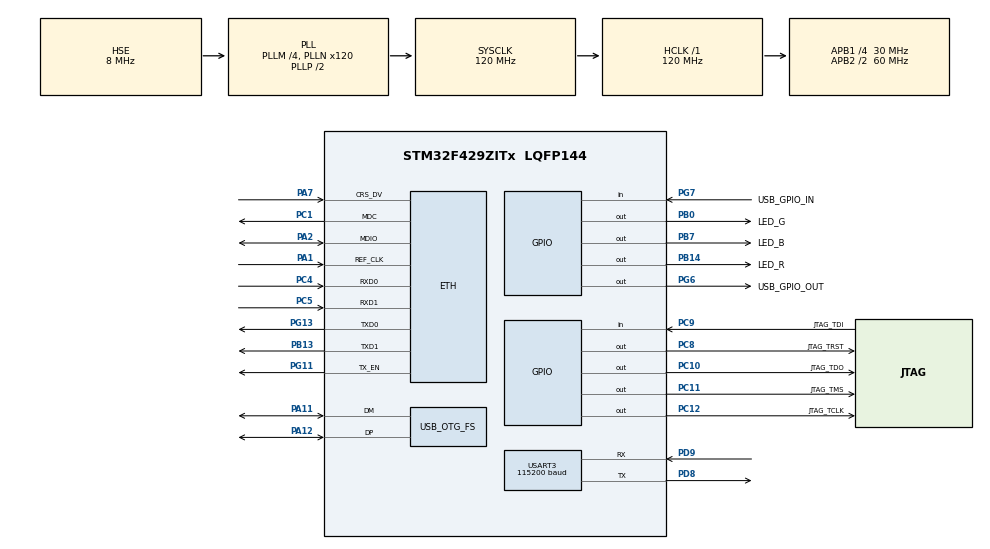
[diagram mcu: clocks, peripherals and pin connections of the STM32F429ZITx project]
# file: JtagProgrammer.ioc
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ETH.MediaInterface=ETH_MEDIA_INTERFACE_RMII
ETH.PhyAddress=0
FREERTOS.Tasks01=defaultTask,0,1024,StartDefaultTask,Default,NULL,Dynamic,NULL,NULL
FREERTOS.configMINIMAL_STACK_SIZE=128
FREERTOS.configTOTAL_HEAP_SIZE=102400
LWIP.LWIP_DNS=1
LWIP.Version=v2.0.3_Cube
Mcu.Family=STM32F4
Mcu.Name=STM32F429ZITx
Mcu.Package=LQFP144
NVIC.ETH_IRQn=true\:5\:0\:false\:false\:true\:true\:false
NVIC.OTG_FS_IRQn=true\:5\:0\:false\:false\:true\:true\:false
NVIC.PriorityGroup=NVIC_PRIORITYGROUP_4
NVIC.TIM6_DAC_IRQn=true\:0\:0\:false\:false\:true\:false\:false
NVIC.TimeBase=TIM6_DAC_IRQn
NVIC.TimeBaseIP=TIM6
PA1.Mode=RMII
PA1.Signal=ETH_REF_CLK
PA11.Mode=Host_Only
PA11.Signal=USB_OTG_FS_DM
PA12.Mode=Host_Only
PA12.Signal=USB_OTG_FS_DP
PA2.Mode=RMII
PA2.Signal=ETH_MDIO
PA7.Mode=RMII
PA7.Signal=ETH_CRS_DV
PB0.GPIO_Label=LED_G
PB0.Signal=GPIO_Output
PB13.Mode=RMII
PB13.Signal=ETH_TXD1
PB14.GPIO_Label=LED_R
PB14.Signal=GPIO_Output
PB7.GPIO_Label=LED_B
PB7.Signal=GPIO_Output
PC1.Mode=RMII
PC1.Signal=ETH_MDC
PC10.GPIO_Label=JTAG_TDO
PC10.GPIO_PuPd=GPIO_PULLUP
PC10.Signal=GPIO_Output
PC11.GPIO_Label=JTAG_TMS
PC11.GPIO_PuPd=GPIO_PULLUP
PC11.Signal=GPIO_Output
PC12.GPIO_Label=JTAG_TCLK
PC12.GPIO_PuPd=GPIO_PULLUP
PC12.Signal=GPIO_Output
PC4.Mode=RMII
PC4.Signal=ETH_RXD0
PC5.Mode=RMII
PC5.Signal=ETH_RXD1
PC8.GPIO_Label=JTAG_TRST
PC8.GPIO_PuPd=GPIO_PULLUP
PC8.Signal=GPIO_Output
PC9.GPIO_Label=JTAG_TDI
PC9.GPIO_PuPd=GPIO_PULLUP
PC9.Signal=GPIO_Input
PD8.Mode=Asynchronous
PD8.Signal=USART3_TX
PD9.Mode=Asynchronous
PD9.Signal=USART3_RX
PG11.Mode=RMII
PG11.Signal=ETH_TX_EN
PG13.Mode=RMII
PG13.Signal=ETH_TXD0
PG6.GPIO_Label=USB_GPIO_OUT
PG6.PinState=GPIO_PIN_RESET
PG6.Signal=GPIO_Output
PG7.GPIO_Label=USB_GPIO_IN
PG7.Signal=GPIO_Input
PH0/OSC_IN.Mode=HSE-External-Oscillator
PH0/OSC_IN.Signal=RCC_OSC_IN
PH1/OSC_OUT.Mode=HSE-External-Oscillator
PH1/OSC_OUT.Signal=RCC_OSC_OUT
ProjectManager.HeapSize=0x200
ProjectManager.StackSize=0x400
ProjectManager.TargetToolchain=Makefile
RCC.48MHZClocksFreq_Value=48000000
RCC.AHBFreq_Value=120000000
RCC.APB1CLKDivider=RCC_HCLK_DIV4
RCC.APB1Freq_Value=30000000
RCC.APB1TimFreq_Value=60000000
RCC.APB2CLKDivider=RCC_HCLK_DIV2
RCC.APB2Freq_Value=60000000
RCC.APB2TimFreq_Value=120000000
RCC.CortexFreq_Value=120000000
RCC.HCLKFreq_Value=120000000
RCC.HSE_VALUE=8000000
RCC.HSI_VALUE=16000000
RCC.LSE_VALUE=32768
RCC.PLLM=4
RCC.PLLN=120
RCC.PLLQ=5
RCC.SYSCLKFreq_VALUE=120000000
RCC.SYSCLKSource=RCC_SYSCLKSOURCE_PLLCLK
RCC.VCOOutputFreq_Value=240000000
USART3.BaudRate=115200
USART3.VirtualMode=VM_ASYNC
USART3.WordLength=WORDLENGTH_8B
USB_HOST.USBH_DEBUG_LEVEL-MSC_FS=3
USB_HOST.USBH_HandleTypeDef-MSC_FS=hUsbHostFS
USB_HOST.VirtualModeFS=Msc
USB_OTG_FS.VirtualMode=Host_Only
USB_OTG_FS.phy_itface=HCD_PHY_EMBEDDED
VP_FATFS_VS_USB.Mode=USB
VP_FREERTOS_VS_ENABLE.Mode=Enabled
VP_LWIP_VS_Enabled.Mode=Enabled
VP_SYS_VS_tim6.Mode=TIM6
VP_USB_HOST_VS_USB_HOST_MSC_FS.Mode=MSC_FS
board=custom

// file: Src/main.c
/**
  ******************************************************************************
  * @file           : main.c
  * @brief          : Main program body
  ******************************************************************************
  * This notice applies to any and all portions of this file
  * that are not between comment pairs USER CODE BEGIN and
  * USER CODE END. Other portions of this file, whether
  * inserted by the user or by software development tools
  * are owned by their respective copyright owners.
  *
  * Copyright (c) 2018 STMicroelectronics International N.V.
  * All rights reserved.
  *
  * Redistribution and use in source and binary forms, with or without
  * modification, are permitted, provided that the following conditions are met:
  *
  * 1. Redistribution of source code must retain the above copyright notice,
  *    this list of conditions and the following disclaimer.
  * 2. Redistributions in binary form must reproduce the above copyright notice,
  *    this list of conditions and the following disclaimer in the documentation
  *    and/or other materials provided with the distribution.
  * 3. Neither the name of STMicroelectronics nor the names of other
  *    contributors to this software may be used to endorse or promote products
  *    derived from this software without specific written permission.
  * 4. This software, including modifications and/or derivative works of this
  *    software, must execute solely and exclusively on microcontroller or
  *    microprocessor devices manufactured by or for STMicroelectronics.
  * 5. Redistribution and use of this software other than as permitted under
  *    this license is void and will automatically terminate your rights under
  *    this license.
  *
  * THIS SOFTWARE IS PROVIDED BY STMICROELECTRONICS AND CONTRIBUTORS "AS IS"
  * AND ANY EXPRESS, IMPLIED OR STATUTORY WARRANTIES, INCLUDING, BUT NOT
  * LIMITED TO, THE IMPLIED WARRANTIES OF MERCHANTABILITY, FITNESS FOR A
  * PARTICULAR PURPOSE AND NON-INFRINGEMENT OF THIRD PARTY INTELLECTUAL PROPERTY
  * RIGHTS ARE DISCLAIMED TO THE FULLEST EXTENT PERMITTED BY LAW. IN NO EVENT
  * SHALL STMICROELECTRONICS OR CONTRIBUTORS BE LIABLE FOR ANY DIRECT, INDIRECT,
  * INCIDENTAL, SPECIAL, EXEMPLARY, OR CONSEQUENTIAL DAMAGES (INCLUDING, BUT NOT
  * LIMITED TO, PROCUREMENT OF SUBSTITUTE GOODS OR SERVICES; LOSS OF USE, DATA,
  * OR PROFITS; OR BUSINESS INTERRUPTION) HOWEVER CAUSED AND ON ANY THEORY OF
  * LIABILITY, WHETHER IN CONTRACT, STRICT LIABILITY, OR TORT (INCLUDING
  * NEGLIGENCE OR OTHERWISE) ARISING IN ANY WAY OUT OF THE USE OF THIS SOFTWARE,
  * EVEN IF ADVISED OF THE POSSIBILITY OF SUCH DAMAGE.
  *
  ******************************************************************************
  */
#include "main.h"
#include "stm32f4xx_hal.h"
#include "cmsis_os.h"
#include "fatfs.h"
#include "lwip.h"
#include "usb_host.h"

/* USER CODE BEGIN Includes */
#include "debug_leds.h"
#include "wakaama.h"
#include "jtag/jtag_scan.h"
#include "binary_download.h"
#include "target.h"
/* USER CODE END Includes */

UART_HandleTypeDef huart3;

osThreadId defaultTaskHandle;

/* USER CODE BEGIN PV */
/* Private variables ---------------------------------------------------------*/

/* USER CODE END PV */

void SystemClock_Config(void);
static void MX_GPIO_Init(void);
static void MX_USART3_UART_Init(void);
void StartDefaultTask(void const * argument);

/* USER CODE BEGIN PFP */
/* Private function prototypes -----------------------------------------------*/

/* USER CODE END PFP */

int main(void)
{

  /* MCU Configuration----------------------------------------------------------*/

  /* Reset of all peripherals, Initializes the Flash interface and the Systick. */
  HAL_Init();

  /* Configure the system clock */
  SystemClock_Config();

  /* Initialize all configured peripherals */
  MX_GPIO_Init();
  MX_USART3_UART_Init();

  /* Create the thread(s) */
  /* definition and creation of defaultTask */
  osThreadDef(defaultTask, StartDefaultTask, osPriorityNormal, 0, 1024);
  defaultTaskHandle = osThreadCreate(osThread(defaultTask), NULL);

  /* Start scheduler */
  osKernelStart();

  /* We should never get here as control is now taken by the scheduler */

  /* Infinite loop */
  while (1)
  {

  }

}

void SystemClock_Config(void)
{

  RCC_OscInitTypeDef RCC_OscInitStruct;
  RCC_ClkInitTypeDef RCC_ClkInitStruct;

    /**Configure the main internal regulator output voltage
    */
  __HAL_RCC_PWR_CLK_ENABLE();

  __HAL_PWR_VOLTAGESCALING_CONFIG(PWR_REGULATOR_VOLTAGE_SCALE3);

    /**Initializes the CPU, AHB and APB busses clocks
    */
  RCC_OscInitStruct.OscillatorType = RCC_OSCILLATORTYPE_HSE;
  RCC_OscInitStruct.HSEState = RCC_HSE_ON;
  RCC_OscInitStruct.PLL.PLLState = RCC_PLL_ON;
  RCC_OscInitStruct.PLL.PLLSource = RCC_PLLSOURCE_HSE;
  RCC_OscInitStruct.PLL.PLLM = 4;
  RCC_OscInitStruct.PLL.PLLN = 120;
  RCC_OscInitStruct.PLL.PLLP = RCC_PLLP_DIV2;
  RCC_OscInitStruct.PLL.PLLQ = 5;
  if (HAL_RCC_OscConfig(&RCC_OscInitStruct) != HAL_OK)
  {
    _Error_Handler(__FILE__, __LINE__);
  }

    /**Initializes the CPU, AHB and APB busses clocks
    */
  RCC_ClkInitStruct.ClockType = RCC_CLOCKTYPE_HCLK|RCC_CLOCKTYPE_SYSCLK
                              |RCC_CLOCKTYPE_PCLK1|RCC_CLOCKTYPE_PCLK2;
  RCC_ClkInitStruct.SYSCLKSource = RCC_SYSCLKSOURCE_PLLCLK;
  RCC_ClkInitStruct.AHBCLKDivider = RCC_SYSCLK_DIV1;
  RCC_ClkInitStruct.APB1CLKDivider = RCC_HCLK_DIV4;
  RCC_ClkInitStruct.APB2CLKDivider = RCC_HCLK_DIV2;

  if (HAL_RCC_ClockConfig(&RCC_ClkInitStruct, FLASH_LATENCY_3) != HAL_OK)
  {
    _Error_Handler(__FILE__, __LINE__);
  }

    /**Configure the Systick interrupt time
    */
  HAL_SYSTICK_Config(HAL_RCC_GetHCLKFreq()/1000);

    /**Configure the Systick
    */
  HAL_SYSTICK_CLKSourceConfig(SYSTICK_CLKSOURCE_HCLK);

  /* SysTick_IRQn interrupt configuration */
  HAL_NVIC_SetPriority(SysTick_IRQn, 15, 0);
}

/* USART3 init function */
static void MX_USART3_UART_Init(void)
{

  huart3.Instance = USART3;
  huart3.Init.BaudRate = 115200;
  huart3.Init.WordLength = UART_WORDLENGTH_8B;
  huart3.Init.StopBits = UART_STOPBITS_1;
  huart3.Init.Parity = UART_PARITY_NONE;
  huart3.Init.Mode = UART_MODE_TX_RX;
  huart3.Init.HwFlowCtl = UART_HWCONTROL_NONE;
  huart3.Init.OverSampling = UART_OVERSAMPLING_16;
  if (HAL_UART_Init(&huart3) != HAL_OK)
  {
    _Error_Handler(__FILE__, __LINE__);
  }

}

/** Configure pins as
        * Analog
        * Input
        * Output
        * EVENT_OUT
        * EXTI
*/
static void MX_GPIO_Init(void)
{

  GPIO_InitTypeDef GPIO_InitStruct;

  /* GPIO Ports Clock Enable */
  __HAL_RCC_GPIOH_CLK_ENABLE();
  __HAL_RCC_GPIOC_CLK_ENABLE();
  __HAL_RCC_GPIOA_CLK_ENABLE();
  __HAL_RCC_GPIOB_CLK_ENABLE();
  __HAL_RCC_GPIOD_CLK_ENABLE();
  __HAL_RCC_GPIOG_CLK_ENABLE();

  /*Configure GPIO pin Output Level */
  HAL_GPIO_WritePin(GPIOB, LED_G_Pin|LED_R_Pin|LED_B_Pin, GPIO_PIN_RESET);

  /*Configure GPIO pin Output Level */
  HAL_GPIO_WritePin(USB_GPIO_OUT_GPIO_Port, USB_GPIO_OUT_Pin, GPIO_PIN_RESET);

  /*Configure GPIO pin Output Level */
  HAL_GPIO_WritePin(GPIOC, JTAG_TRST_Pin|JTAG_TDO_Pin|JTAG_TMS_Pin|JTAG_TCLK_Pin, GPIO_PIN_RESET);

  /*Configure GPIO pins : LED_G_Pin LED_R_Pin LED_B_Pin */
  GPIO_InitStruct.Pin = LED_G_Pin|LED_R_Pin|LED_B_Pin;
  GPIO_InitStruct.Mode = GPIO_MODE_OUTPUT_PP;
  GPIO_InitStruct.Pull = GPIO_NOPULL;
  GPIO_InitStruct.Speed = GPIO_SPEED_FREQ_LOW;
  HAL_GPIO_Init(GPIOB, &GPIO_InitStruct);

  /*Configure GPIO pin : USB_GPIO_OUT_Pin */
  GPIO_InitStruct.Pin = USB_GPIO_OUT_Pin;
  GPIO_InitStruct.Mode = GPIO_MODE_OUTPUT_PP;
  GPIO_InitStruct.Pull = GPIO_NOPULL;
  GPIO_InitStruct.Speed = GPIO_SPEED_FREQ_LOW;
  HAL_GPIO_Init(USB_GPIO_OUT_GPIO_Port, &GPIO_InitStruct);

  /*Configure GPIO pin : USB_GPIO_IN_Pin */
  GPIO_InitStruct.Pin = USB_GPIO_IN_Pin;
  GPIO_InitStruct.Mode = GPIO_MODE_INPUT;
  GPIO_InitStruct.Pull = GPIO_NOPULL;
  HAL_GPIO_Init(USB_GPIO_IN_GPIO_Port, &GPIO_InitStruct);

  /*Configure GPIO pins : JTAG_TRST_Pin JTAG_TDI_Pin JTAG_TMS_Pin JTAG_TCLK_Pin */
  GPIO_InitStruct.Pin = JTAG_TRST_Pin|JTAG_TDI_Pin|JTAG_TMS_Pin|JTAG_TCLK_Pin;
  GPIO_InitStruct.Mode = GPIO_MODE_OUTPUT_PP;
  GPIO_InitStruct.Pull = GPIO_PULLUP;
  GPIO_InitStruct.Speed = GPIO_SPEED_FREQ_LOW;
  HAL_GPIO_Init(GPIOC, &GPIO_InitStruct);

  /*Configure GPIO pin : JTAG_TDO_Pin */
  GPIO_InitStruct.Pin = JTAG_TDO_Pin;
  GPIO_InitStruct.Mode = GPIO_MODE_INPUT;
  GPIO_InitStruct.Pull = GPIO_PULLUP;
  HAL_GPIO_Init(JTAG_TDO_GPIO_Port, &GPIO_InitStruct);

}

/* USER CODE BEGIN 4 */

int __io_putchar(int ch)
{
 uint8_t c[1];
 c[1] = '\0';
 c[0] = ch & 0x00FF;
 if(c[0] == '\n') {
   __io_putchar('\r');
 }
 HAL_UART_Transmit(&huart3, &*c, 1, 10);
 return ch;
}

/* USER CODE END 4 */

void StartDefaultTask(void const * argument)
{
  /* init code for LWIP */
  MX_LWIP_Init();

  /* init code for USB_HOST */
  MX_USB_HOST_Init();

  /* init code for FATFS */
  MX_FATFS_Init();

  /* USER CODE BEGIN 5 */
  printf("\n\n\n-----------------------START-------------------------\n\n");
  printf("\n\n\n---------------------JTAG-SCAN-----------------------\n\n");
  jtag_scan();
  printf("\n\n\n----------------------WAKAAMA------------------------\n\n");
  osDelay(3000); // wait for DHCP initialisation

// Initialize Wakaama LWM2M Client
  lwip_socket_init();
  int socket = createUDPSocket(LOCAL_PORT, AF_INET);
  if(socket != -1){
    printf("Start wakaama task\r\n");
    int res = xTaskCreate(taskWakaama, "wakaama", 3000, (void *) socket, 3, NULL);
    if (res != pdPASS) {
      printf("\r\nerror creating taskWakaama: %d\n", res);
    }
  } else {
    printf("Error creating socket: %d", socket);
  }

  int x = 0;
  osDelay(500);
  HAL_GPIO_WritePin(USB_GPIO_OUT_GPIO_Port, USB_GPIO_OUT_Pin, GPIO_PIN_SET);
  BlinkBlue();
  char usrInput[2];
  FIL file;
  int result;
  int progress;
  /* Infinite loop */
  debug_init(&huart3);
  for(;;)
  {
    osDelay(5);
    printf("in loop %d\n\r", x);
    x++;
    printf("$ ");
    fflush(stdout);
    get_line(usrInput, 2);
    printf("%s\n", usrInput);
    switch(usrInput[0]) {
      case 'l':
        if (get_usb_ready()) {
          usb_ls();
        }
        break;
      case 'w':
        if (get_usb_ready()) {
          usb_write("asd", "temp", 3);
        }
        break;
      case 'r':
        progress = 0;
        if (usb_open_file("red.bin", &file, FA_READ) != 0) {
          break;
        }
        target_list.next->ops->flash_target(target_list.next->priv, &file, &progress);
        usb_close_file(&file);
        break;
      case 'b':
        progress = 0;
        if (usb_open_file("blue.bin", &file, FA_READ) != 0) {
          break;
        }
        target_list.next->ops->flash_target(target_list.next->priv, &file, &progress);
        usb_close_file(&file);
        break;
    }
  }
  /* USER CODE END 5 */
}

void HAL_TIM_PeriodElapsedCallback(TIM_HandleTypeDef *htim)
{
  if (htim->Instance == TIM6) {
    HAL_IncTick();
  }
}

void _Error_Handler(char *file, int line)
{
  while(1)
  {
  }
}

/************************ (C) COPYRIGHT STMicroelectronics *****END OF FILE****/
